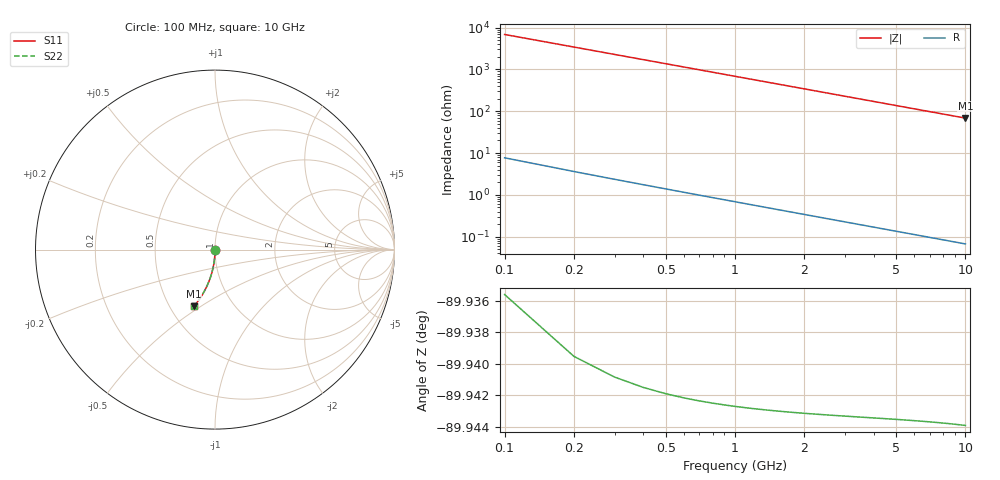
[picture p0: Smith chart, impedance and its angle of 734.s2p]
# Hz S RI R 50.00
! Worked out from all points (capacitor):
!   100 points, 100 MHz to 10 GHz, reference 50 ohm
!   read as one part in shunt: C = 232 fF near 100 MHz
!   lowest |Z| = 68.6 ohm at 10 GHz (marker M1)
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1e8  1.55e-05 -0.00358  0.9999 -0.0037  0.9999 -0.0037  1.55e-05 -0.00358
2e8  -2.77e-05 -0.00716  0.9999 -0.00741  0.9999 -0.00741  -2.77e-05 -0.00716
3e8  -9.75e-05 -0.0107  0.9998 -0.0111  0.9998 -0.0111  -9.75e-05 -0.0107
4e8  -0.000194 -0.0143  0.9997 -0.0148  0.9997 -0.0148  -0.000194 -0.0143
5e8  -0.000317 -0.0179  0.9996 -0.0185  0.9996 -0.0185  -0.000317 -0.0179
6e8  -0.000466 -0.0215  0.9995 -0.0222  0.9995 -0.0222  -0.000466 -0.0215
7e8  -0.000642 -0.0251  0.9993 -0.0259  0.9993 -0.0259  -0.000642 -0.0251
8e8  -0.000844 -0.0286  0.9991 -0.0296  0.9991 -0.0296  -0.000844 -0.0286
9e8  -0.00107 -0.0322  0.9989 -0.0333  0.9989 -0.0333  -0.00107 -0.0322
1.1e9  -0.00161 -0.0393  0.9983 -0.0407  0.9983 -0.0407  -0.00161 -0.0393
1.4e9  -0.00261 -0.05  0.9973 -0.0517  0.9973 -0.0517  -0.00261 -0.05
1.8e9  -0.00431 -0.0642  0.9956 -0.0664  0.9956 -0.0664  -0.00431 -0.0642
2.1e9  -0.00586 -0.0748  0.9941 -0.0773  0.9941 -0.0773  -0.00586 -0.0748
2.5e9  -0.00828 -0.0888  0.9916 -0.0919  0.9916 -0.0919  -0.00828 -0.0888
2.9e9  -0.0111 -0.1027  0.9888 -0.1063  0.9888 -0.1063  -0.0111 -0.1027
3.4e9  -0.0152 -0.1199  0.9847 -0.1241  0.9847 -0.1241  -0.0152 -0.1199
4.2e9  -0.023 -0.147  0.9769 -0.1521  0.9769 -0.1521  -0.023 -0.147
5.1e9  -0.0335 -0.1765  0.9664 -0.1828  0.9664 -0.1828  -0.0335 -0.1765
5.9e9  -0.0444 -0.2019  0.9555 -0.2091  0.9555 -0.2091  -0.0444 -0.2019
6.7e9  -0.0565 -0.2264  0.9434 -0.2346  0.9434 -0.2346  -0.0565 -0.2264
8.4e9  -0.086 -0.2749  0.9138 -0.2852  0.9138 -0.2852  -0.086 -0.2749
1e10  -0.1177 -0.3158  0.8821 -0.3281  0.8821 -0.3281  -0.1177 -0.3158
